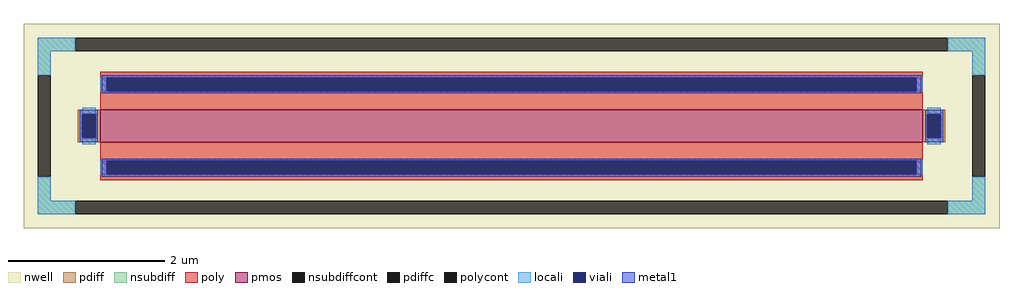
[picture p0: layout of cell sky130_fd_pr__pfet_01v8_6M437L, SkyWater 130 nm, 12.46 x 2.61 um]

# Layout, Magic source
magic
tech sky130A
magscale 1 2
<< nwell >>
rect -1246 -261 1246 261
<< pmos >>
rect -1050 -42 1050 42
<< pdiff >>
rect -1108 30 -1050 42
rect -1108 -30 -1096 30
rect -1062 -30 -1050 30
rect -1108 -42 -1050 -30
rect 1050 30 1108 42
rect 1050 -30 1062 30
rect 1096 -30 1108 30
rect 1050 -42 1108 -30
<< pdiffc >>
rect -1096 -30 -1062 30
rect 1062 -30 1096 30
<< nsubdiff >>
rect -1210 191 -1114 225
rect 1114 191 1210 225
rect -1210 129 -1176 191
rect 1176 129 1210 191
rect -1210 -191 -1176 -129
rect 1176 -191 1210 -129
rect -1210 -225 -1114 -191
rect 1114 -225 1210 -191
<< nsubdiffcont >>
rect -1114 191 1114 225
rect -1210 -129 -1176 129
rect 1176 -129 1210 129
rect -1114 -225 1114 -191
<< poly >>
rect -1050 123 1050 139
rect -1050 89 -1034 123
rect 1034 89 1050 123
rect -1050 42 1050 89
rect -1050 -89 1050 -42
rect -1050 -123 -1034 -89
rect 1034 -123 1050 -89
rect -1050 -139 1050 -123
<< polycont >>
rect -1034 89 1034 123
rect -1034 -123 1034 -89
<< locali >>
rect -1210 191 -1114 225
rect 1114 191 1210 225
rect -1210 129 -1176 191
rect 1176 129 1210 191
rect -1050 89 -1034 123
rect 1034 89 1050 123
rect -1096 30 -1062 46
rect -1096 -46 -1062 -30
rect 1062 30 1096 46
rect 1062 -46 1096 -30
rect -1050 -123 -1034 -89
rect 1034 -123 1050 -89
rect -1210 -191 -1176 -129
rect 1176 -191 1210 -129
rect -1210 -225 -1114 -191
rect 1114 -225 1210 -191
<< viali >>
rect -1034 89 1034 123
rect -1096 -30 -1062 30
rect 1062 -30 1096 30
rect -1034 -123 1034 -89
<< metal1 >>
rect -1046 123 1046 129
rect -1046 89 -1034 123
rect 1034 89 1046 123
rect -1046 83 1046 89
rect -1102 30 -1056 42
rect -1102 -30 -1096 30
rect -1062 -30 -1056 30
rect -1102 -42 -1056 -30
rect 1056 30 1102 42
rect 1056 -30 1062 30
rect 1096 -30 1102 30
rect 1056 -42 1102 -30
rect -1046 -89 1046 -83
rect -1046 -123 -1034 -89
rect 1034 -123 1046 -89
rect -1046 -129 1046 -123
<< properties >>
string FIXED_BBOX -1193 -208 1193 208
string gencell sky130_fd_pr__pfet_01v8
string library sky130
string parameters w 0.42 l 10.5 m 1 nf 1 diffcov 100 polycov 100 guard 1 glc 1 grc 1 gtc 1 gbc 1 tbcov 100 rlcov 100 topc 1 botc 1 poverlap 0 doverlap 1 lmin 0.15 wmin 0.42 compatible {sky130_fd_pr__pfet_01v8  sky130_fd_pr__pfet_01v8_lvt sky130_fd_pr__pfet_01v8_hvt  sky130_fd_pr__pfet_g5v0d10v5} full_metal 1 viasrc 100 viadrn 100 viagate 100 viagb 0 viagr 0 viagl 0 viagt 0
<< end >>
